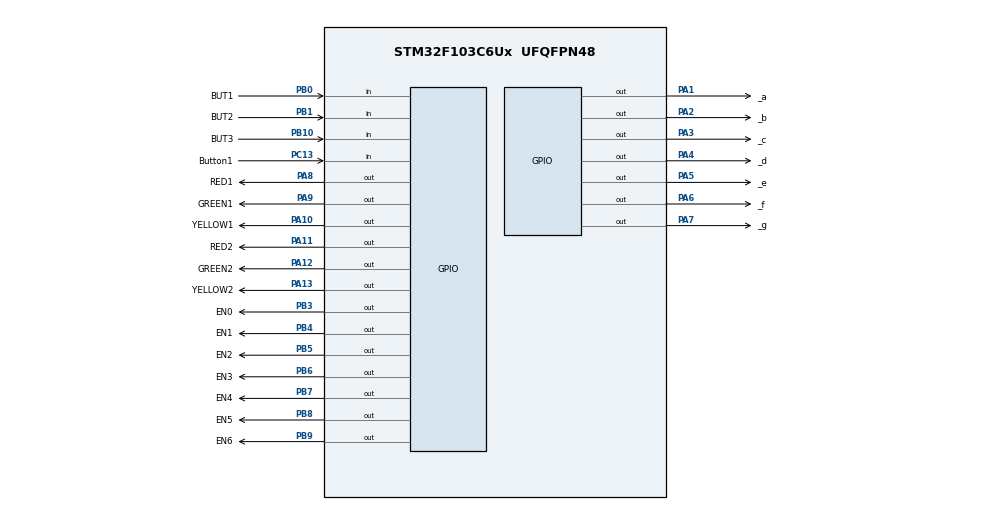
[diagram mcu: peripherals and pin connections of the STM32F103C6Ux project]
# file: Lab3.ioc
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Mcu.Family=STM32F1
Mcu.Name=STM32F103C6Ux
Mcu.Package=UFQFPN48
NVIC.PriorityGroup=NVIC_PRIORITYGROUP_4
NVIC.TIM2_IRQn=true\:0\:0\:false\:false\:true\:true\:true\:true
PA1.GPIO_Label=_a
PA1.Signal=GPIO_Output
PA10.GPIO_Label=YELLOW1
PA10.Signal=GPIO_Output
PA11.GPIO_Label=RED2
PA11.Signal=GPIO_Output
PA12.GPIO_Label=GREEN2
PA12.Signal=GPIO_Output
PA13.GPIO_Label=YELLOW2
PA13.Signal=GPIO_Output
PA2.GPIO_Label=_b
PA2.Signal=GPIO_Output
PA3.GPIO_Label=_c
PA3.Signal=GPIO_Output
PA4.GPIO_Label=_d
PA4.Signal=GPIO_Output
PA5.GPIO_Label=_e
PA5.Signal=GPIO_Output
PA6.GPIO_Label=_f
PA6.Signal=GPIO_Output
PA7.GPIO_Label=_g
PA7.Signal=GPIO_Output
PA8.GPIO_Label=RED1
PA8.Signal=GPIO_Output
PA9.GPIO_Label=GREEN1
PA9.Signal=GPIO_Output
PB0.GPIO_Label=BUT1
PB0.GPIO_PuPd=GPIO_PULLUP
PB0.Signal=GPIO_Input
PB1.GPIO_Label=BUT2
PB1.GPIO_PuPd=GPIO_PULLUP
PB1.Signal=GPIO_Input
PB10.GPIO_Label=BUT3
PB10.GPIO_PuPd=GPIO_PULLUP
PB10.Signal=GPIO_Input
PB3.GPIO_Label=EN0
PB3.Signal=GPIO_Output
PB4.GPIO_Label=EN1
PB4.Signal=GPIO_Output
PB5.GPIO_Label=EN2
PB5.Signal=GPIO_Output
PB6.GPIO_Label=EN3
PB6.Signal=GPIO_Output
PB7.GPIO_Label=EN4
PB7.Signal=GPIO_Output
PB8.GPIO_Label=EN5
PB8.Signal=GPIO_Output
PB9.GPIO_Label=EN6
PB9.Signal=GPIO_Output
PC13-TAMPER-RTC.GPIO_Label=Button1
PC13-TAMPER-RTC.Signal=GPIO_Input
ProjectManager.HeapSize=0x200
ProjectManager.StackSize=0x400
ProjectManager.TargetToolchain=STM32CubeIDE
RCC.APB1Freq_Value=8000000
RCC.APB2Freq_Value=8000000
TIM2.Period=9
TIM2.Prescaler=7999
VP_TIM2_VS_ClockSourceINT.Mode=Internal
board=custom

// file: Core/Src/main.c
/* USER CODE BEGIN Header */
/**
  ******************************************************************************
  * @file           : main.c
  * @brief          : Main program body
  ******************************************************************************
  * @attention
  *
  * Copyright (c) 2022 STMicroelectronics.
  * All rights reserved.
  *
  * This software is licensed under terms that can be found in the LICENSE file
  * in the root directory of this software component.
  * If no LICENSE file comes with this software, it is provided AS-IS.
  *
  ******************************************************************************
  */
/* USER CODE END Header */
#include "main.h"

/* USER CODE BEGIN Includes */
#include "software_timer.h"
#include "button.h"
#include "math.h"
#include "global.h"
#include "led.h"
/* USER CODE END Includes */

TIM_HandleTypeDef htim2;

void SystemClock_Config(void);
static void MX_GPIO_Init(void);
static void MX_TIM2_Init(void);

/* USER CODE BEGIN 0 */
void display7SEG (int num, GPIO_TypeDef * GPIO_TYPE, uint16_t a_Pin, uint16_t b_Pin, uint16_t c_Pin, uint16_t d_Pin, uint16_t e_Pin, uint16_t f_Pin, uint16_t g_Pin){
	switch (num){
		case 0:
			HAL_GPIO_WritePin(GPIO_TYPE, a_Pin, RESET);
			HAL_GPIO_WritePin(GPIO_TYPE, b_Pin, RESET);
			HAL_GPIO_WritePin(GPIO_TYPE, c_Pin, RESET);
			HAL_GPIO_WritePin(GPIO_TYPE, d_Pin, RESET);
			HAL_GPIO_WritePin(GPIO_TYPE, e_Pin, RESET);
			HAL_GPIO_WritePin(GPIO_TYPE, f_Pin, RESET);
			HAL_GPIO_WritePin(GPIO_TYPE, g_Pin, SET);
			break;
		case 1:
			HAL_GPIO_WritePin(GPIO_TYPE, a_Pin, SET);
			HAL_GPIO_WritePin(GPIO_TYPE, b_Pin, RESET);
			HAL_GPIO_WritePin(GPIO_TYPE, c_Pin, RESET);
			HAL_GPIO_WritePin(GPIO_TYPE, d_Pin, SET);
			HAL_GPIO_WritePin(GPIO_TYPE, e_Pin, SET);
			HAL_GPIO_WritePin(GPIO_TYPE, f_Pin, SET);
			HAL_GPIO_WritePin(GPIO_TYPE, g_Pin, SET);
			break;
		case 2:
			HAL_GPIO_WritePin(GPIO_TYPE, a_Pin, RESET);
			HAL_GPIO_WritePin(GPIO_TYPE, b_Pin, RESET);
			HAL_GPIO_WritePin(GPIO_TYPE, c_Pin, SET);
			HAL_GPIO_WritePin(GPIO_TYPE, d_Pin, RESET);
			HAL_GPIO_WritePin(GPIO_TYPE, e_Pin, RESET);
			HAL_GPIO_WritePin(GPIO_TYPE, f_Pin, SET);
			HAL_GPIO_WritePin(GPIO_TYPE, g_Pin, RESET);
			break;
		case 3:
			HAL_GPIO_WritePin(GPIO_TYPE, a_Pin, RESET);
			HAL_GPIO_WritePin(GPIO_TYPE, b_Pin, RESET);
			HAL_GPIO_WritePin(GPIO_TYPE, c_Pin, RESET);
			HAL_GPIO_WritePin(GPIO_TYPE, d_Pin, RESET);
			HAL_GPIO_WritePin(GPIO_TYPE, e_Pin, SET);
			HAL_GPIO_WritePin(GPIO_TYPE, f_Pin, SET);
			HAL_GPIO_WritePin(GPIO_TYPE, g_Pin, RESET);
			break;
		case 4:
			HAL_GPIO_WritePin(GPIO_TYPE, a_Pin, SET);
			HAL_GPIO_WritePin(GPIO_TYPE, b_Pin, RESET);
			HAL_GPIO_WritePin(GPIO_TYPE, c_Pin, RESET);
			HAL_GPIO_WritePin(GPIO_TYPE, d_Pin, SET);
			HAL_GPIO_WritePin(GPIO_TYPE, e_Pin, SET);
			HAL_GPIO_WritePin(GPIO_TYPE, f_Pin, RESET);
			HAL_GPIO_WritePin(GPIO_TYPE, g_Pin, RESET);
			break;
		case 5:
			HAL_GPIO_WritePin(GPIO_TYPE, a_Pin, RESET);
			HAL_GPIO_WritePin(GPIO_TYPE, b_Pin, SET);
			HAL_GPIO_WritePin(GPIO_TYPE, c_Pin, RESET);
			HAL_GPIO_WritePin(GPIO_TYPE, d_Pin, RESET);
			HAL_GPIO_WritePin(GPIO_TYPE, e_Pin, SET);
			HAL_GPIO_WritePin(GPIO_TYPE, f_Pin, RESET);
			HAL_GPIO_WritePin(GPIO_TYPE, g_Pin, RESET);
			break;
		case 6:
			HAL_GPIO_WritePin(GPIO_TYPE, a_Pin, RESET);
			HAL_GPIO_WritePin(GPIO_TYPE, b_Pin, SET);
			HAL_GPIO_WritePin(GPIO_TYPE, c_Pin, RESET);
			HAL_GPIO_WritePin(GPIO_TYPE, d_Pin, RESET);
			HAL_GPIO_WritePin(GPIO_TYPE, e_Pin, RESET);
			HAL_GPIO_WritePin(GPIO_TYPE, f_Pin, RESET);
			HAL_GPIO_WritePin(GPIO_TYPE, g_Pin, RESET);
			break;
		case 7:
			HAL_GPIO_WritePin(GPIO_TYPE, a_Pin, RESET);
			HAL_GPIO_WritePin(GPIO_TYPE, b_Pin, RESET);
			HAL_GPIO_WritePin(GPIO_TYPE, c_Pin, RESET);
			HAL_GPIO_WritePin(GPIO_TYPE, d_Pin, SET);
			HAL_GPIO_WritePin(GPIO_TYPE, e_Pin, SET);
			HAL_GPIO_WritePin(GPIO_TYPE, f_Pin, SET);
			HAL_GPIO_WritePin(GPIO_TYPE, g_Pin, SET);
			break;
		case 8:
			HAL_GPIO_WritePin(GPIO_TYPE, a_Pin, RESET);
			HAL_GPIO_WritePin(GPIO_TYPE, b_Pin, RESET);
			HAL_GPIO_WritePin(GPIO_TYPE, c_Pin, RESET);
			HAL_GPIO_WritePin(GPIO_TYPE, d_Pin, RESET);
			HAL_GPIO_WritePin(GPIO_TYPE, e_Pin, RESET);
			HAL_GPIO_WritePin(GPIO_TYPE, f_Pin, RESET);
			HAL_GPIO_WritePin(GPIO_TYPE, g_Pin, RESET);
			break;
		case 9:
			HAL_GPIO_WritePin(GPIO_TYPE, a_Pin, RESET);
			HAL_GPIO_WritePin(GPIO_TYPE, b_Pin, RESET);
			HAL_GPIO_WritePin(GPIO_TYPE, c_Pin, RESET);
			HAL_GPIO_WritePin(GPIO_TYPE, d_Pin, RESET);
			HAL_GPIO_WritePin(GPIO_TYPE, e_Pin, SET);
			HAL_GPIO_WritePin(GPIO_TYPE, f_Pin, RESET);
			HAL_GPIO_WritePin(GPIO_TYPE, g_Pin, RESET);
			break;
		default:
			break;
	}
}
int keyEvent_0 = -1;
int keyEvent_1 = -1;
int keyEvent_2 = -1;

int keyEvent_3 = -1;
int time_duration = 0;
int first_red_duration = 7;
int first_yellow_duration = 2;
int first_green_duration = 5;
int second_red_duration = 7;
int second_yellow_duration = 2;
int second_green_duration = 5;
int first_traffic_state = 0;
int second_traffic_state = 1;

void fsm_simple_buttons_run() {
	keyEvent_0 = keyEvent_1;
	keyEvent_1 = keyEvent_2;
	keyEvent_2 = getButtonEvent();
	if(keyEvent_0 == keyEvent_1 && keyEvent_1 == keyEvent_2) {
		if(keyEvent_3 != keyEvent_2) {
			keyEvent_3 = keyEvent_2;
			if(mode == 2) {
				if(keyEvent_2 == 2) {
					first_red_duration = time_duration;
					second_red_duration = time_duration;
					first_traffic_state = 0;
					second_traffic_state = 1;
					clearAllTrafficLight();
				}
				if(keyEvent_2 == 1) {
					time_duration += 1;
					if (time_duration > 99) time_duration = 0;
				}
			}
			if(mode == 3) {
				if(keyEvent_2 == 2) {
					first_yellow_duration = time_duration;
					second_yellow_duration = time_duration;
					first_traffic_state = 0;
					second_traffic_state = 1;
					clearAllTrafficLight();
				}
				if(keyEvent_2 == 1) {
					time_duration += 1;
					if (time_duration > 99) time_duration = 0;
				}
			}
			if(mode == 4) {
				if(keyEvent_2 == 2) {
					first_green_duration = time_duration;
					second_green_duration = time_duration;
					first_traffic_state = 0;
					second_traffic_state = 1;
				}
				if(keyEvent_2 == 1) {
					time_duration += 1;
					if (time_duration > 99) time_duration = 0;
				}
			}
			if(keyEvent_2 == 0) {
				clearAllTrafficLight();
				mode += 1;
				setTimer3(0);
				if (mode > 4) mode = 1;
				if (mode == 1) {
					setTimer2(first_red_duration*100);
					setTimer3(second_green_duration*100);
					HAL_GPIO_WritePin(RED1_GPIO_Port, RED1_Pin, SET);
					HAL_GPIO_WritePin(GREEN2_GPIO_Port, GREEN2_Pin, SET);
				}
				time_duration = 0;

			}
		}
	}
}
void setFirstTrafficLight(int state) {
	switch (state) {
		case RED_STATE:
		  setTimer2(first_green_duration*100);
		  setTraffic(1, 0, 1, 0);
		  //Write to green
		  first_traffic_state = GREEN_STATE;
		  break;
		case GREEN_STATE:
		  setTimer2(first_yellow_duration*100);
		  setTraffic(1, 0, 0, 1);
		  //Write to yellow
		  first_traffic_state = YELLOW_STATE;
		  break;
		case YELLOW_STATE:
		  setTraffic(1, 1, 0, 0);
		  setTimer2(first_red_duration*100);
		  //Write to red
		  first_traffic_state = RED_STATE;
		  break;
		default:
		  break;
	}
}
void setSecondTrafficLight(int state) {
	switch (state) {
		case RED_STATE:
		  setTimer3(second_green_duration*100);
		  setTraffic(2, 0, 1, 0);
		  //Write to green
		  second_traffic_state = GREEN_STATE;
		  break;
		case GREEN_STATE:
		  setTimer3(second_yellow_duration*100);
		  setTraffic(2, 0, 0, 1);
		  //Write to yellow
		  second_traffic_state = YELLOW_STATE;
		  break;
		case YELLOW_STATE:
		  setTimer3(second_red_duration*100);
		  setTraffic(2, 1, 0, 0);
		  //Write to red
		  second_traffic_state = RED_STATE;
		  break;
		default:
		  break;
	}
}

/* USER CODE END 0 */

int main(void)
{

  /* MCU Configuration--------------------------------------------------------*/

  /* Reset of all peripherals, Initializes the Flash interface and the Systick. */
  HAL_Init();

  /* Configure the system clock */
  SystemClock_Config();

  /* Initialize all configured peripherals */
  MX_GPIO_Init();
  MX_TIM2_Init();
  /* USER CODE BEGIN 2 */
  HAL_TIM_Base_Start_IT(& htim2 );
  /* USER CODE END 2 */

  /* Infinite loop */
  /* USER CODE BEGIN WHILE */
  setTimer1(50);
  setTimer4(1);
  setTimer5(50);
  setTimer2(first_red_duration*100);
  setTimer3(second_green_duration*100);
  HAL_GPIO_WritePin(RED1_GPIO_Port, RED1_Pin, SET);
  HAL_GPIO_WritePin(GREEN2_GPIO_Port, GREEN2_Pin, SET);

  while (1)
  {
	  if(timer5_flag == 1 && mode != MODE_1_MANUAL) {
		  setTimer5(50);
		  switch (mode) {
		  case MODE_2_RED:
			  blink_red();
			  break;
		  case MODE_3_YELLOW:
			  blink_yellow();
			  break;
		  case MODE_4_GREEN:
			  blink_green();
			  break;
		  }
	  }
	  if(timer4_flag == 1) {
		  setTimer4(1);
		  fsm_simple_buttons_run();
	  }
	  if(timer2_flag == 1 && mode == MODE_1_MANUAL) {
		  setFirstTrafficLight(first_traffic_state);
	  }
	  if(timer3_flag == 1 && mode == MODE_1_MANUAL) {
		  setSecondTrafficLight(second_traffic_state);
	  }

	  timer_duration_firstorder = time_duration % 10;
	  timer_duration_secondorder = time_duration / 10;
	  first_traffic_light_count_2 = (timer2_counter / 100) / 10;
	  first_traffic_light_count_1 = (timer2_counter / 100) % 10;
	  second_traffic_light_count_2 = (timer3_counter / 100) / 10;
	  second_traffic_light_count_1 = (timer3_counter / 100) % 10;
	  if(timer1_flag == 1) {
		  setTimer1(50);
		  check = 0;
		  ledScan();
	  }

    /* USER CODE END WHILE */
  }
}

void SystemClock_Config(void)
{
  RCC_OscInitTypeDef RCC_OscInitStruct = {0};
  RCC_ClkInitTypeDef RCC_ClkInitStruct = {0};

  /** Initializes the RCC Oscillators according to the specified parameters
  * in the RCC_OscInitTypeDef structure.
  */
  RCC_OscInitStruct.OscillatorType = RCC_OSCILLATORTYPE_HSI;
  RCC_OscInitStruct.HSIState = RCC_HSI_ON;
  RCC_OscInitStruct.HSICalibrationValue = RCC_HSICALIBRATION_DEFAULT;
  RCC_OscInitStruct.PLL.PLLState = RCC_PLL_NONE;
  if (HAL_RCC_OscConfig(&RCC_OscInitStruct) != HAL_OK)
  {
    Error_Handler();
  }

  /** Initializes the CPU, AHB and APB buses clocks
  */
  RCC_ClkInitStruct.ClockType = RCC_CLOCKTYPE_HCLK|RCC_CLOCKTYPE_SYSCLK
                              |RCC_CLOCKTYPE_PCLK1|RCC_CLOCKTYPE_PCLK2;
  RCC_ClkInitStruct.SYSCLKSource = RCC_SYSCLKSOURCE_HSI;
  RCC_ClkInitStruct.AHBCLKDivider = RCC_SYSCLK_DIV1;
  RCC_ClkInitStruct.APB1CLKDivider = RCC_HCLK_DIV1;
  RCC_ClkInitStruct.APB2CLKDivider = RCC_HCLK_DIV1;

  if (HAL_RCC_ClockConfig(&RCC_ClkInitStruct, FLASH_LATENCY_0) != HAL_OK)
  {
    Error_Handler();
  }
}

static void MX_TIM2_Init(void)
{

  TIM_ClockConfigTypeDef sClockSourceConfig = {0};
  TIM_MasterConfigTypeDef sMasterConfig = {0};

  htim2.Instance = TIM2;
  htim2.Init.Prescaler = 7999;
  htim2.Init.CounterMode = TIM_COUNTERMODE_UP;
  htim2.Init.Period = 9;
  htim2.Init.ClockDivision = TIM_CLOCKDIVISION_DIV1;
  htim2.Init.AutoReloadPreload = TIM_AUTORELOAD_PRELOAD_DISABLE;
  if (HAL_TIM_Base_Init(&htim2) != HAL_OK)
  {
    Error_Handler();
  }
  sClockSourceConfig.ClockSource = TIM_CLOCKSOURCE_INTERNAL;
  if (HAL_TIM_ConfigClockSource(&htim2, &sClockSourceConfig) != HAL_OK)
  {
    Error_Handler();
  }
  sMasterConfig.MasterOutputTrigger = TIM_TRGO_RESET;
  sMasterConfig.MasterSlaveMode = TIM_MASTERSLAVEMODE_DISABLE;
  if (HAL_TIMEx_MasterConfigSynchronization(&htim2, &sMasterConfig) != HAL_OK)
  {
    Error_Handler();
  }

}

static void MX_GPIO_Init(void)
{
  GPIO_InitTypeDef GPIO_InitStruct = {0};

  /* GPIO Ports Clock Enable */
  __HAL_RCC_GPIOC_CLK_ENABLE();
  __HAL_RCC_GPIOA_CLK_ENABLE();
  __HAL_RCC_GPIOB_CLK_ENABLE();

  /*Configure GPIO pin Output Level */
  HAL_GPIO_WritePin(GPIOA, _a_Pin|_b_Pin|_c_Pin|_d_Pin
                          |_e_Pin|_f_Pin|_g_Pin|RED1_Pin
                          |GREEN1_Pin|YELLOW1_Pin|RED2_Pin|GREEN2_Pin
                          |YELLOW2_Pin, GPIO_PIN_RESET);

  /*Configure GPIO pin Output Level */
  HAL_GPIO_WritePin(GPIOB, EN0_Pin|EN1_Pin|EN2_Pin|EN3_Pin
                          |EN4_Pin|EN5_Pin|EN6_Pin, GPIO_PIN_RESET);

  /*Configure GPIO pin : Button1_Pin */
  GPIO_InitStruct.Pin = Button1_Pin;
  GPIO_InitStruct.Mode = GPIO_MODE_INPUT;
  GPIO_InitStruct.Pull = GPIO_NOPULL;
  HAL_GPIO_Init(Button1_GPIO_Port, &GPIO_InitStruct);

  /*Configure GPIO pins : _a_Pin _b_Pin _c_Pin _d_Pin
                           _e_Pin _f_Pin _g_Pin RED1_Pin
                           GREEN1_Pin YELLOW1_Pin RED2_Pin GREEN2_Pin
                           YELLOW2_Pin */
  GPIO_InitStruct.Pin = _a_Pin|_b_Pin|_c_Pin|_d_Pin
                          |_e_Pin|_f_Pin|_g_Pin|RED1_Pin
                          |GREEN1_Pin|YELLOW1_Pin|RED2_Pin|GREEN2_Pin
                          |YELLOW2_Pin;
  GPIO_InitStruct.Mode = GPIO_MODE_OUTPUT_PP;
  GPIO_InitStruct.Pull = GPIO_NOPULL;
  GPIO_InitStruct.Speed = GPIO_SPEED_FREQ_LOW;
  HAL_GPIO_Init(GPIOA, &GPIO_InitStruct);

  /*Configure GPIO pins : BUT1_Pin BUT2_Pin BUT3_Pin */
  GPIO_InitStruct.Pin = BUT1_Pin|BUT2_Pin|BUT3_Pin;
  GPIO_InitStruct.Mode = GPIO_MODE_INPUT;
  GPIO_InitStruct.Pull = GPIO_PULLUP;
  HAL_GPIO_Init(GPIOB, &GPIO_InitStruct);

  /*Configure GPIO pins : EN0_Pin EN1_Pin EN2_Pin EN3_Pin
                           EN4_Pin EN5_Pin EN6_Pin */
  GPIO_InitStruct.Pin = EN0_Pin|EN1_Pin|EN2_Pin|EN3_Pin
                          |EN4_Pin|EN5_Pin|EN6_Pin;
  GPIO_InitStruct.Mode = GPIO_MODE_OUTPUT_PP;
  GPIO_InitStruct.Pull = GPIO_NOPULL;
  GPIO_InitStruct.Speed = GPIO_SPEED_FREQ_LOW;
  HAL_GPIO_Init(GPIOB, &GPIO_InitStruct);

}

/* USER CODE BEGIN 4 */
void HAL_TIM_PeriodElapsedCallback(TIM_HandleTypeDef *htim) {
	timerRun();
}
/* USER CODE END 4 */

void Error_Handler(void)
{
  __disable_irq();
  while (1)
  {
  }
}
